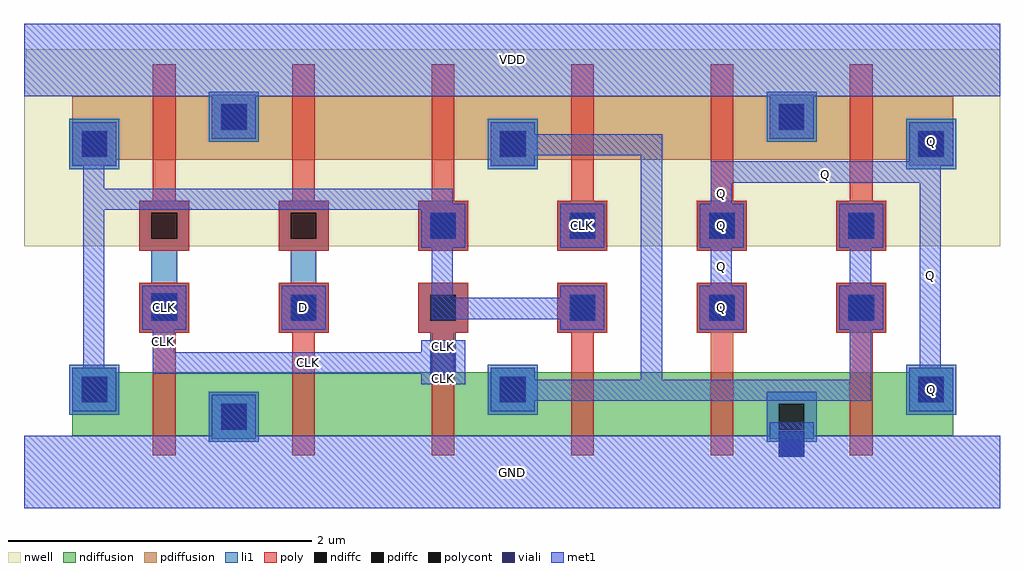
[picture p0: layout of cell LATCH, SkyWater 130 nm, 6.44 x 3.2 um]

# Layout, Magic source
magic
# Generated by librecell
tech sky130A
<< nwell >>
rect 0 149 644 272
rect 1 272 644 279
<< viali >>
<< viali >>
rect 84 117 101 118
rect 498 10 515 27
rect 130 28 147 45
rect 38 46 55 63
rect 314 46 331 63
rect 590 46 607 63
rect 268 64 285 81
rect 84 100 101 117
rect 176 100 193 117
rect 360 100 377 117
rect 452 100 469 117
rect 544 100 561 117
rect 268 154 285 171
rect 360 154 377 171
rect 452 154 469 171
rect 544 154 561 171
rect 38 208 55 225
rect 314 208 331 225
rect 590 208 607 225
rect 130 226 147 243
rect 498 226 515 243
<< poly >>
rect 85 11 100 92
rect 76 92 109 125
rect 177 11 192 92
rect 168 92 201 125
rect 269 11 284 92
rect 260 92 293 125
rect 361 11 376 92
rect 352 92 385 125
rect 453 11 468 92
rect 444 92 477 125
rect 545 11 560 92
rect 536 92 569 125
rect 76 146 109 179
rect 85 179 100 269
rect 168 146 201 179
rect 177 179 192 269
rect 260 146 293 179
rect 269 179 284 269
rect 352 146 385 179
rect 361 179 376 269
rect 444 146 477 179
rect 453 179 468 269
rect 536 146 569 179
rect 545 179 560 269
<< properties >>
string FIXED_BBOX 0 0 644 272
<< li1 >>
rect 122 20 155 53
rect 498 10 515 20
rect 490 20 523 53
rect 30 38 63 71
rect 306 38 339 71
rect 582 38 615 71
rect 268 64 285 92
rect 260 92 293 125
rect 352 92 385 125
rect 444 92 477 125
rect 536 92 569 125
rect 76 92 109 125
rect 84 125 101 146
rect 76 146 109 179
rect 168 92 201 125
rect 176 125 193 146
rect 168 146 201 179
rect 260 146 293 179
rect 352 146 385 179
rect 444 146 477 179
rect 536 146 569 179
rect 30 200 63 233
rect 306 200 339 233
rect 582 200 615 233
rect 122 218 155 251
rect 490 218 523 251
<< met1 >>
rect 0 -24 644 24
rect 492 24 521 33
rect 124 24 153 51
rect 262 58 291 65
rect 85 65 291 79
rect 262 79 291 87
rect 85 79 99 94
rect 78 94 107 123
rect 170 94 199 123
rect 354 148 383 177
rect 32 40 61 69
rect 354 94 383 101
rect 269 101 383 115
rect 354 115 383 123
rect 269 115 283 148
rect 39 69 53 173
rect 262 148 291 173
rect 39 173 291 177
rect 39 177 283 187
rect 39 187 53 202
rect 32 202 61 231
rect 308 40 337 47
rect 308 47 559 61
rect 308 61 337 69
rect 545 61 559 94
rect 538 94 567 123
rect 545 123 559 148
rect 538 148 567 177
rect 308 202 337 209
rect 407 61 421 209
rect 308 209 421 223
rect 308 223 337 231
rect 584 40 613 69
rect 446 94 475 123
rect 453 123 467 148
rect 446 148 475 177
rect 453 177 467 191
rect 591 69 605 191
rect 453 191 605 202
rect 453 202 613 205
rect 584 205 613 231
rect 124 220 153 248
rect 492 220 521 248
rect 0 248 644 296
<< li1 >>
<< met1 >>
<< li1 >>
<< met1 >>
rect 0 -24 644 24
rect 170 94 199 123
rect 354 148 383 177
rect 584 40 613 69
rect 446 94 475 123
rect 453 123 467 148
rect 446 148 475 177
rect 453 177 467 191
rect 591 69 605 191
rect 453 191 605 202
rect 453 202 613 205
rect 584 205 613 231
rect 0 248 644 296
<< ndiffusion >>
rect 124 22 153 24
rect 492 22 521 24
rect 32 24 613 66
rect 32 66 61 69
rect 308 66 337 69
rect 584 66 613 69
<< pdiffusion >>
rect 32 202 61 206
rect 308 202 337 206
rect 584 202 613 206
rect 32 206 613 248
rect 124 248 153 249
rect 492 248 521 249
<< polycont >>
rect 84 100 101 117
rect 176 100 193 117
rect 268 100 285 117
rect 360 100 377 117
rect 452 100 469 117
rect 544 100 561 117
rect 84 154 101 171
rect 176 154 193 171
rect 268 154 285 171
rect 360 154 377 171
rect 452 154 469 171
rect 544 154 561 171
<< pdiffc >>
rect 38 208 55 225
rect 314 208 331 225
rect 590 208 607 225
rect 130 226 147 243
rect 498 226 515 243
<< ndiffc >>
rect 130 28 147 45
rect 498 28 515 45
rect 38 46 55 63
rect 314 46 331 63
rect 590 46 607 63
<< labels >>
rlabel metal2 0 248 644 296 0 VDD
port 1 se
rlabel metal2 0 -24 644 24 0 GND
port 2 se
rlabel metal2 584 40 613 69 0 Q
port 3 se
rlabel metal2 446 94 475 123 0 Q
port 4 se
rlabel metal2 453 123 467 148 0 Q
port 5 se
rlabel metal2 446 148 475 177 0 Q
port 6 se
rlabel metal2 453 177 467 191 0 Q
port 7 se
rlabel metal2 591 69 605 191 0 Q
port 8 se
rlabel metal2 453 191 605 202 0 Q
port 9 se
rlabel metal2 453 202 613 205 0 Q
port 10 se
rlabel metal2 584 205 613 231 0 Q
port 11 se
rlabel metal2 262 58 291 65 0 CLK
port 12 se
rlabel metal2 85 65 291 79 0 CLK
port 13 se
rlabel metal2 262 79 291 87 0 CLK
port 14 se
rlabel metal2 85 79 99 94 0 CLK
port 15 se
rlabel metal2 78 94 107 123 0 CLK
port 16 se
rlabel metal2 354 148 383 177 0 CLK
port 17 se
rlabel metal2 170 94 199 123 0 D
port 18 se
<< end >>
